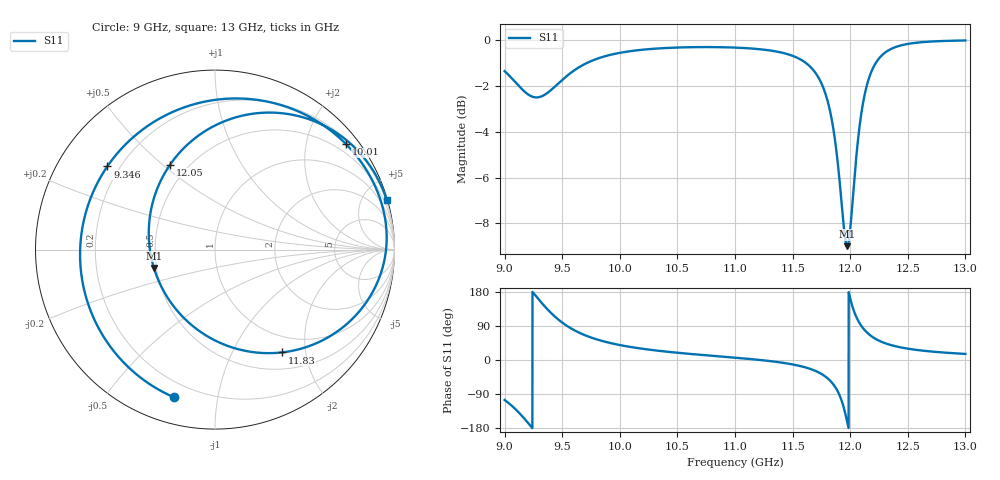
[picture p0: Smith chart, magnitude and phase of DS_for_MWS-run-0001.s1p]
! TOUCHSTONE file generated by CST DESIGN STUDIO
! Date and time: Tue Feb  4 17:39:09 2025
! Project name: C:\Work\MatlabApps\UnitCellOptimizationMatlab\CST\unitcell.cst
! Tree item: Tasks\Sweep1\SPara1\S-Parameters
! Header version: 2024
! Port assignment regex: !\s*Touchstone port\s*([0-9]+)\s*=\s*(CST MWS port|CST DES external port|CST DES block port)\s*(.+)\s* \(\"(.*)\"\)(\s*mode\s*([0-9]+))?.*
! Touchstone port assignment:
! Touchstone port 1 = CST DES external port 1 ("")
# GHz S MA R 50
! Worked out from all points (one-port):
!   4001 points, 9 GHz to 13 GHz, reference 50 ohm
!   lowest |S11| = -9.0 dB at 11.97 GHz (marker M1), VSWR 2.10, Z = 24.2 - j5.67 ohm
!   |S11| at or under -10 dB: nowhere
!   S11 on the Smith chart (normalised r, x): 9 GHz: 0.12, -0.75; 9.346 GHz: 0.15, +0.33; 10.01 GHz: 0.29, +2.81; 11.83 GHz: 0.74, -1.59; 12.05 GHz: 0.40, +0.53; 13 GHz: 0.10, +7.09
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9  0.8542 -105.4
9.095  0.8072 -130.0
9.197  0.7621 -163.7
9.269  0.7488 169.8
9.346  0.7581 142.3
9.421  0.784 118.9
9.5  0.8172 98.8
9.595  0.8541 80.2
9.724  0.892 62.3
10  0.9361 39.4
10.01  0.9371 38.9
10.5  0.9613 19.1
11  0.961 6.1
11.5  0.9221 -11.7
11.703  0.8435 -29.4
11.773  0.7781 -41.2
11.833  0.684 -56.9
11.908  0.4924 -93.2
11.94  0.4018 -121.1
11.974  0.3553 -163.3
12  0.3865 162.5
12.047  0.5353 117.9
12.083  0.6527 96.4
12.123  0.7538 79.8
12.237  0.9013 53.0
12.347  0.9523 40.0
12.5  0.9788 29.9
13  0.996 16.1
